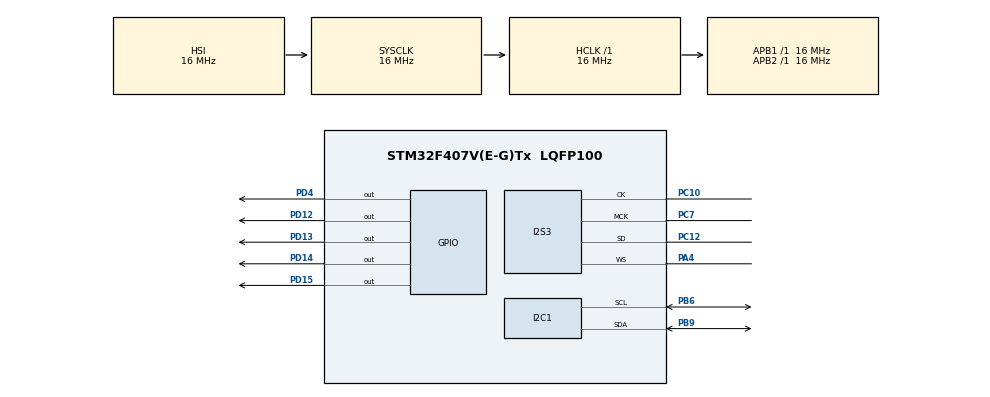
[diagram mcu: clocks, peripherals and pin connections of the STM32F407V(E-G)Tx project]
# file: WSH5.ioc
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Dma.Request0=SPI3_TX
Dma.SPI3_TX.0.Direction=DMA_MEMORY_TO_PERIPH
Dma.SPI3_TX.0.FIFOMode=DMA_FIFOMODE_ENABLE
Dma.SPI3_TX.0.FIFOThreshold=DMA_FIFO_THRESHOLD_FULL
Dma.SPI3_TX.0.Instance=DMA1_Stream5
Dma.SPI3_TX.0.MemBurst=DMA_MBURST_SINGLE
Dma.SPI3_TX.0.MemDataAlignment=DMA_MDATAALIGN_HALFWORD
Dma.SPI3_TX.0.MemInc=DMA_MINC_ENABLE
Dma.SPI3_TX.0.Mode=DMA_CIRCULAR
Dma.SPI3_TX.0.PeriphBurst=DMA_PBURST_SINGLE
Dma.SPI3_TX.0.PeriphDataAlignment=DMA_PDATAALIGN_HALFWORD
Dma.SPI3_TX.0.PeriphInc=DMA_PINC_DISABLE
Dma.SPI3_TX.0.Priority=DMA_PRIORITY_LOW
I2S3.AudioFreq=I2S_AUDIOFREQ_48K
I2S3.ErrorAudioFreq=-2.34 %
I2S3.FullDuplexMode=I2S_FULLDUPLEXMODE_DISABLE
I2S3.Instance=SPI$Index
I2S3.RealAudioFreq=46.875 KHz
I2S3.VirtualMode=I2S_MODE_MASTER
Mcu.Family=STM32F4
Mcu.Name=STM32F407V(E-G)Tx
Mcu.Package=LQFP100
NVIC.DMA1_Stream5_IRQn=true\:0\:0\:false\:false\:true\:false\:true\:true
NVIC.PriorityGroup=NVIC_PRIORITYGROUP_4
PA4.Mode=Half_Duplex_Master
PA4.Signal=I2S3_WS
PB6.Mode=I2C
PB6.Signal=I2C1_SCL
PB9.Mode=I2C
PB9.Signal=I2C1_SDA
PC10.Mode=Half_Duplex_Master
PC10.Signal=I2S3_CK
PC12.Mode=Half_Duplex_Master
PC12.Signal=I2S3_SD
PC7.Mode=Master_Clock_Activated
PC7.Signal=I2S3_MCK
PD12.Signal=GPIO_Output
PD13.Signal=GPIO_Output
PD14.Signal=GPIO_Output
PD15.Signal=GPIO_Output
PD4.Signal=GPIO_Output
ProjectManager.HeapSize=0x200
ProjectManager.StackSize=0x400
ProjectManager.TargetToolchain=STM32CubeIDE
RCC.AHBFreq_Value=16000000
RCC.APB1Freq_Value=16000000
RCC.APB2Freq_Value=16000000
RCC.CortexFreq_Value=16000000
RCC.HSE_VALUE=25000000
RCC.HSI_VALUE=16000000
RCC.LSE_VALUE=32768
RCC.SYSCLKFreq_VALUE=16000000
RCC.VCOOutputFreq_Value=192000000
board=custom

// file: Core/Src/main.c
/* USER CODE BEGIN Header */
/**
  ******************************************************************************
  * @file           : main.c
  * @brief          : Main program body
  ******************************************************************************
  * @attention
  *
  * Copyright (c) 2026 STMicroelectronics.
  * All rights reserved.
  *
  * This software is licensed under terms that can be found in the LICENSE file
  * in the root directory of this software component.
  * If no LICENSE file comes with this software, it is provided AS-IS.
  *
  ******************************************************************************
  */
/* USER CODE END Header */
#include "main.h"

/* USER CODE BEGIN PTD */
// List of available musical notes
typedef enum
{
    NOTE_C4 = 0x00, NOTE_C5 = 0x10, NOTE_D5 = 0x20, NOTE_E5 = 0x30,
    NOTE_F5 = 0x40, NOTE_G5 = 0x50, NOTE_A5 = 0x60, NOTE_B5 = 0x70,
    NOTE_C6 = 0x80, NOTE_D6 = 0x90, NOTE_E6 = 0xA0, NOTE_F6 = 0xB0,
    NOTE_G6 = 0xC0, NOTE_A6 = 0xD0, NOTE_B6 = 0xE0, NOTE_C7 = 0xF0,
    MAX_VALUE
} soundToneType;

/* USER CODE END PTD */

/* USER CODE BEGIN PD */
// Device connection settings
#define CS43L22_I2C_ADDRESS     0x94
#define I2C_TIMEOUT             10

/* USER CODE END PD */

I2C_HandleTypeDef hi2c1;

I2S_HandleTypeDef hi2s3;
DMA_HandleTypeDef hdma_spi3_tx;

/* USER CODE BEGIN PV */
// Buffer to keep the I2S clock running
int16_t dataI2S[100] = {0};

/* USER CODE END PV */

void SystemClock_Config(void);
static void MX_GPIO_Init(void);
static void MX_DMA_Init(void);
static void MX_I2C1_Init(void);
static void MX_I2S3_Init(void);

/* USER CODE BEGIN 0 */
// Setup sequence to wake up and configure the audio chip
void CS43L22_Init(void)
{
	// Enable chip
	HAL_GPIO_WritePin(GPIOD, GPIO_PIN_4, GPIO_PIN_SET);

	//
	// Initialization
	//
	uint8_t TxBuffer[2];

	TxBuffer[0] = 0x0D;
	TxBuffer[1] = 0x01;
	HAL_I2C_Master_Transmit(&hi2c1, CS43L22_I2C_ADDRESS, (uint8_t*) &TxBuffer, 2, I2C_TIMEOUT);

	TxBuffer[0] = 0x00;
	TxBuffer[1] = 0x99;
	HAL_I2C_Master_Transmit(&hi2c1, CS43L22_I2C_ADDRESS, (uint8_t*) &TxBuffer, 2, I2C_TIMEOUT);

	TxBuffer[0] = 0x47;
	TxBuffer[1] = 0x80;
	HAL_I2C_Master_Transmit(&hi2c1, CS43L22_I2C_ADDRESS, (uint8_t*) &TxBuffer, 2, I2C_TIMEOUT);

	TxBuffer[0] = 0x32;
	TxBuffer[1] = 0xFF;
	HAL_I2C_Master_Transmit(&hi2c1, CS43L22_I2C_ADDRESS, (uint8_t*) &TxBuffer, 2, I2C_TIMEOUT);

	TxBuffer[0] = 0x32;
	TxBuffer[1] = 0x7F;
	HAL_I2C_Master_Transmit(&hi2c1, CS43L22_I2C_ADDRESS, (uint8_t*) &TxBuffer, 2, I2C_TIMEOUT);

	TxBuffer[0] = 0x00;
	TxBuffer[1] = 0x00;
	HAL_I2C_Master_Transmit(&hi2c1, CS43L22_I2C_ADDRESS, (uint8_t*) &TxBuffer, 2, I2C_TIMEOUT);

	TxBuffer[0] = 0x04;
	TxBuffer[1] = 0xAF;
	HAL_I2C_Master_Transmit(&hi2c1, CS43L22_I2C_ADDRESS, (uint8_t*) &TxBuffer, 2, I2C_TIMEOUT);

	TxBuffer[0] = 0x0D;
	TxBuffer[1] = 0x70;
	HAL_I2C_Master_Transmit(&hi2c1, CS43L22_I2C_ADDRESS, (uint8_t*) &TxBuffer, 2, I2C_TIMEOUT);

	TxBuffer[0] = 0x05;
	TxBuffer[1] = 0x81;
	HAL_I2C_Master_Transmit(&hi2c1, CS43L22_I2C_ADDRESS, (uint8_t*) &TxBuffer, 2, I2C_TIMEOUT);

	TxBuffer[0] = 0x06;
	TxBuffer[1] = 0x07;
	HAL_I2C_Master_Transmit(&hi2c1, CS43L22_I2C_ADDRESS, (uint8_t*) &TxBuffer, 2, I2C_TIMEOUT);

	TxBuffer[0] = 0x0A;
	TxBuffer[1] = 0x00;
	HAL_I2C_Master_Transmit(&hi2c1, CS43L22_I2C_ADDRESS, (uint8_t*) &TxBuffer, 2, I2C_TIMEOUT);

	TxBuffer[0] = 0x27;
	TxBuffer[1] = 0x00;
	HAL_I2C_Master_Transmit(&hi2c1, CS43L22_I2C_ADDRESS, (uint8_t*) &TxBuffer, 2, I2C_TIMEOUT);

	TxBuffer[0] = 0x1A;
	TxBuffer[1] = 0x0A;
	HAL_I2C_Master_Transmit(&hi2c1, CS43L22_I2C_ADDRESS, (uint8_t*) &TxBuffer, 2, I2C_TIMEOUT);

	TxBuffer[0] = 0x1B;
	TxBuffer[1] = 0x0A;
	HAL_I2C_Master_Transmit(&hi2c1, CS43L22_I2C_ADDRESS, (uint8_t*) &TxBuffer, 2, I2C_TIMEOUT);

	TxBuffer[0] = 0x1F;
	TxBuffer[1] = 0x0F;
	HAL_I2C_Master_Transmit(&hi2c1, CS43L22_I2C_ADDRESS, (uint8_t*) &TxBuffer, 2, I2C_TIMEOUT);

	TxBuffer[0] = 0x02;
	TxBuffer[1] = 0x9E;
	HAL_I2C_Master_Transmit(&hi2c1, CS43L22_I2C_ADDRESS, (uint8_t*) &TxBuffer, 2, I2C_TIMEOUT);
}

// Function to play a specific note for a set duration
void CS43L22_Beep(soundToneType pitch, uint32_t duration_ms)
{
    uint8_t TxBuffer[2];

    TxBuffer[0] = 0x1D;
    TxBuffer[1] = 0x06;
    HAL_I2C_Master_Transmit(&hi2c1, CS43L22_I2C_ADDRESS, TxBuffer, 2, I2C_TIMEOUT);

    TxBuffer[0] = 0x1C;
    switch (pitch)
    {
        case NOTE_C4: TxBuffer[1] = 0x00; break;
        case NOTE_C5: TxBuffer[1] = 0x10; break;
        case NOTE_D5: TxBuffer[1] = 0x20; break;
        case NOTE_E5: TxBuffer[1] = 0x30; break;
        case NOTE_F5: TxBuffer[1] = 0x40; break;
        case NOTE_G5: TxBuffer[1] = 0x50; break;
        case NOTE_A5: TxBuffer[1] = 0x60; break;
        case NOTE_B5: TxBuffer[1] = 0x70; break;
        case NOTE_C6: TxBuffer[1] = 0x80; break;
        case NOTE_D6: TxBuffer[1] = 0x90; break;
        case NOTE_E6: TxBuffer[1] = 0xA0; break;
        case NOTE_F6: TxBuffer[1] = 0xB0; break;
        case NOTE_G6: TxBuffer[1] = 0xC0; break;
        case NOTE_A6: TxBuffer[1] = 0xD0; break;
        case NOTE_B6: TxBuffer[1] = 0xE0; break;
        case NOTE_C7: TxBuffer[1] = 0xF0; break;
        default:      TxBuffer[1] = 0x00; break;
    }
    HAL_I2C_Master_Transmit(&hi2c1, CS43L22_I2C_ADDRESS, TxBuffer, 2, I2C_TIMEOUT);

    TxBuffer[0] = 0x1E;
    TxBuffer[1] = 0xC0;
    HAL_I2C_Master_Transmit(&hi2c1, CS43L22_I2C_ADDRESS, TxBuffer, 2, I2C_TIMEOUT);

    HAL_Delay(duration_ms);

    TxBuffer[0] = 0x1E;
    TxBuffer[1] = 0x00;
    HAL_I2C_Master_Transmit(&hi2c1, CS43L22_I2C_ADDRESS, TxBuffer, 2, I2C_TIMEOUT);
}

/* USER CODE END 0 */

int main(void)
{

  /* MCU Configuration--------------------------------------------------------*/

  /* Reset of all peripherals, Initializes the Flash interface and the Systick. */
  HAL_Init();

  /* Configure the system clock */
  SystemClock_Config();

  /* Initialize all configured peripherals */
  MX_GPIO_Init();
  MX_DMA_Init();
  MX_I2C1_Init();
  MX_I2S3_Init();
  /* USER CODE BEGIN 2 */
  // Initializing hardware
  CS43L22_Init();

  // Start I2S DMA to provide clock signal to the audio chip
  HAL_I2S_Transmit_DMA(&hi2s3, (uint16_t *)dataI2S, 100);

  // Variable to count how many times the melody has played
  int play_count = 0;

  /* USER CODE END 2 */

  /* Infinite loop */
  /* USER CODE BEGIN WHILE */
  while (1)
  {
	  if (play_count < 3)
	  {
	            /* Task realization - Ode to Joy  */
	            HAL_GPIO_WritePin(GPIOD, GPIO_PIN_12, GPIO_PIN_SET);
	            CS43L22_Beep(NOTE_E5, 400);
	            HAL_GPIO_WritePin(GPIOD, GPIO_PIN_12, GPIO_PIN_RESET);

	            HAL_GPIO_WritePin(GPIOD, GPIO_PIN_13, GPIO_PIN_SET);
	            CS43L22_Beep(NOTE_E5, 400);
	            HAL_GPIO_WritePin(GPIOD, GPIO_PIN_13, GPIO_PIN_RESET);

	            HAL_GPIO_WritePin(GPIOD, GPIO_PIN_14, GPIO_PIN_SET);
	            CS43L22_Beep(NOTE_F5, 400);
	            HAL_GPIO_WritePin(GPIOD, GPIO_PIN_14, GPIO_PIN_RESET);

	            HAL_GPIO_WritePin(GPIOD, GPIO_PIN_15, GPIO_PIN_SET);
	            CS43L22_Beep(NOTE_G5, 400);
	            HAL_GPIO_WritePin(GPIOD, GPIO_PIN_15, GPIO_PIN_RESET);

	            HAL_GPIO_WritePin(GPIOD, GPIO_PIN_15, GPIO_PIN_SET);
	            CS43L22_Beep(NOTE_G5, 400);
	            HAL_GPIO_WritePin(GPIOD, GPIO_PIN_15, GPIO_PIN_RESET);

	            HAL_GPIO_WritePin(GPIOD, GPIO_PIN_14, GPIO_PIN_SET);
	            CS43L22_Beep(NOTE_F5, 400);
	            HAL_GPIO_WritePin(GPIOD, GPIO_PIN_14, GPIO_PIN_RESET);

	            HAL_GPIO_WritePin(GPIOD, GPIO_PIN_13, GPIO_PIN_SET);
	            CS43L22_Beep(NOTE_E5, 400);
	            HAL_GPIO_WritePin(GPIOD, GPIO_PIN_13, GPIO_PIN_RESET);

	            HAL_GPIO_WritePin(GPIOD, GPIO_PIN_12, GPIO_PIN_SET);
	            CS43L22_Beep(NOTE_D5, 400);
	            HAL_GPIO_WritePin(GPIOD, GPIO_PIN_12, GPIO_PIN_RESET);

	            HAL_GPIO_WritePin(GPIOD, GPIO_PIN_12 | GPIO_PIN_13, GPIO_PIN_SET);
	            CS43L22_Beep(NOTE_C5, 400);
	            HAL_GPIO_WritePin(GPIOD, GPIO_PIN_12 | GPIO_PIN_13, GPIO_PIN_RESET);

	            HAL_GPIO_WritePin(GPIOD, GPIO_PIN_14 | GPIO_PIN_15, GPIO_PIN_SET);
	            CS43L22_Beep(NOTE_C5, 400);
	            HAL_GPIO_WritePin(GPIOD, GPIO_PIN_14 | GPIO_PIN_15, GPIO_PIN_RESET);

	            HAL_GPIO_WritePin(GPIOD, GPIO_PIN_12, GPIO_PIN_SET);
	            CS43L22_Beep(NOTE_D5, 400);
	            HAL_GPIO_WritePin(GPIOD, GPIO_PIN_12, GPIO_PIN_RESET);

	            HAL_GPIO_WritePin(GPIOD, GPIO_PIN_13, GPIO_PIN_SET);
	            CS43L22_Beep(NOTE_E5, 400);
	            HAL_GPIO_WritePin(GPIOD, GPIO_PIN_13, GPIO_PIN_RESET);

	            HAL_GPIO_WritePin(GPIOD, GPIO_PIN_14, GPIO_PIN_SET);
	            CS43L22_Beep(NOTE_E5, 600);
	            HAL_GPIO_WritePin(GPIOD, GPIO_PIN_14, GPIO_PIN_RESET);

	            HAL_GPIO_WritePin(GPIOD, GPIO_PIN_12, GPIO_PIN_SET);
	            CS43L22_Beep(NOTE_D5, 200);
	            HAL_GPIO_WritePin(GPIOD, GPIO_PIN_12, GPIO_PIN_RESET);

	            HAL_GPIO_WritePin(GPIOD, GPIO_PIN_15, GPIO_PIN_SET);
	            CS43L22_Beep(NOTE_D5, 800);
	            HAL_GPIO_WritePin(GPIOD, GPIO_PIN_15, GPIO_PIN_RESET);

	            play_count++;
	            HAL_Delay(2000);
	        }
	        else
	        {
	            HAL_Delay(1000);
	        }
    /* USER CODE END WHILE */

  }
}

void SystemClock_Config(void)
{
  RCC_OscInitTypeDef RCC_OscInitStruct = {0};
  RCC_ClkInitTypeDef RCC_ClkInitStruct = {0};

  /** Macro to configure the PLL multiplication factor
  */
  __HAL_RCC_PLL_PLLM_CONFIG(16);

  /** Macro to configure the PLL clock source
  */
  __HAL_RCC_PLL_PLLSOURCE_CONFIG(RCC_PLLSOURCE_HSI);

  /** Configure the main internal regulator output voltage
  */
  __HAL_RCC_PWR_CLK_ENABLE();
  __HAL_PWR_VOLTAGESCALING_CONFIG(PWR_REGULATOR_VOLTAGE_SCALE1);

  /** Initializes the RCC Oscillators according to the specified parameters
  * in the RCC_OscInitTypeDef structure.
  */
  RCC_OscInitStruct.OscillatorType = RCC_OSCILLATORTYPE_HSI;
  RCC_OscInitStruct.HSIState = RCC_HSI_ON;
  RCC_OscInitStruct.HSICalibrationValue = RCC_HSICALIBRATION_DEFAULT;
  RCC_OscInitStruct.PLL.PLLState = RCC_PLL_NONE;
  RCC_OscInitStruct.PLL.PLLSource = RCC_PLLSOURCE_HSI;
  if (HAL_RCC_OscConfig(&RCC_OscInitStruct) != HAL_OK)
  {
    Error_Handler();
  }

  /** Initializes the CPU, AHB and APB buses clocks
  */
  RCC_ClkInitStruct.ClockType = RCC_CLOCKTYPE_HCLK|RCC_CLOCKTYPE_SYSCLK
                              |RCC_CLOCKTYPE_PCLK1|RCC_CLOCKTYPE_PCLK2;
  RCC_ClkInitStruct.SYSCLKSource = RCC_SYSCLKSOURCE_HSI;
  RCC_ClkInitStruct.AHBCLKDivider = RCC_SYSCLK_DIV1;
  RCC_ClkInitStruct.APB1CLKDivider = RCC_HCLK_DIV1;
  RCC_ClkInitStruct.APB2CLKDivider = RCC_HCLK_DIV1;

  if (HAL_RCC_ClockConfig(&RCC_ClkInitStruct, FLASH_LATENCY_0) != HAL_OK)
  {
    Error_Handler();
  }
}

static void MX_I2C1_Init(void)
{

  hi2c1.Instance = I2C1;
  hi2c1.Init.ClockSpeed = 100000;
  hi2c1.Init.DutyCycle = I2C_DUTYCYCLE_2;
  hi2c1.Init.OwnAddress1 = 0;
  hi2c1.Init.AddressingMode = I2C_ADDRESSINGMODE_7BIT;
  hi2c1.Init.DualAddressMode = I2C_DUALADDRESS_DISABLE;
  hi2c1.Init.OwnAddress2 = 0;
  hi2c1.Init.GeneralCallMode = I2C_GENERALCALL_DISABLE;
  hi2c1.Init.NoStretchMode = I2C_NOSTRETCH_DISABLE;
  if (HAL_I2C_Init(&hi2c1) != HAL_OK)
  {
    Error_Handler();
  }

}

static void MX_I2S3_Init(void)
{

  hi2s3.Instance = SPI3;
  hi2s3.Init.Mode = I2S_MODE_MASTER_TX;
  hi2s3.Init.Standard = I2S_STANDARD_PHILIPS;
  hi2s3.Init.DataFormat = I2S_DATAFORMAT_16B;
  hi2s3.Init.MCLKOutput = I2S_MCLKOUTPUT_ENABLE;
  hi2s3.Init.AudioFreq = I2S_AUDIOFREQ_48K;
  hi2s3.Init.CPOL = I2S_CPOL_LOW;
  hi2s3.Init.ClockSource = I2S_CLOCK_PLL;
  hi2s3.Init.FullDuplexMode = I2S_FULLDUPLEXMODE_DISABLE;
  if (HAL_I2S_Init(&hi2s3) != HAL_OK)
  {
    Error_Handler();
  }

}

static void MX_DMA_Init(void)
{

  /* DMA controller clock enable */
  __HAL_RCC_DMA1_CLK_ENABLE();

  /* DMA interrupt init */
  /* DMA1_Stream5_IRQn interrupt configuration */
  HAL_NVIC_SetPriority(DMA1_Stream5_IRQn, 0, 0);
  HAL_NVIC_EnableIRQ(DMA1_Stream5_IRQn);

}

static void MX_GPIO_Init(void)
{
  GPIO_InitTypeDef GPIO_InitStruct = {0};

  /* GPIO Ports Clock Enable */
  __HAL_RCC_GPIOA_CLK_ENABLE();
  __HAL_RCC_GPIOD_CLK_ENABLE();
  __HAL_RCC_GPIOC_CLK_ENABLE();
  __HAL_RCC_GPIOB_CLK_ENABLE();

  /*Configure GPIO pin Output Level */
  HAL_GPIO_WritePin(GPIOD, GPIO_PIN_12|GPIO_PIN_13|GPIO_PIN_14|GPIO_PIN_15
                          |GPIO_PIN_4, GPIO_PIN_RESET);

  /*Configure GPIO pins : PD12 PD13 PD14 PD15
                           PD4 */
  GPIO_InitStruct.Pin = GPIO_PIN_12|GPIO_PIN_13|GPIO_PIN_14|GPIO_PIN_15
                          |GPIO_PIN_4;
  GPIO_InitStruct.Mode = GPIO_MODE_OUTPUT_PP;
  GPIO_InitStruct.Pull = GPIO_NOPULL;
  GPIO_InitStruct.Speed = GPIO_SPEED_FREQ_LOW;
  HAL_GPIO_Init(GPIOD, &GPIO_InitStruct);

}

void Error_Handler(void)
{
  __disable_irq();
  while (1)
  {
  }
}
